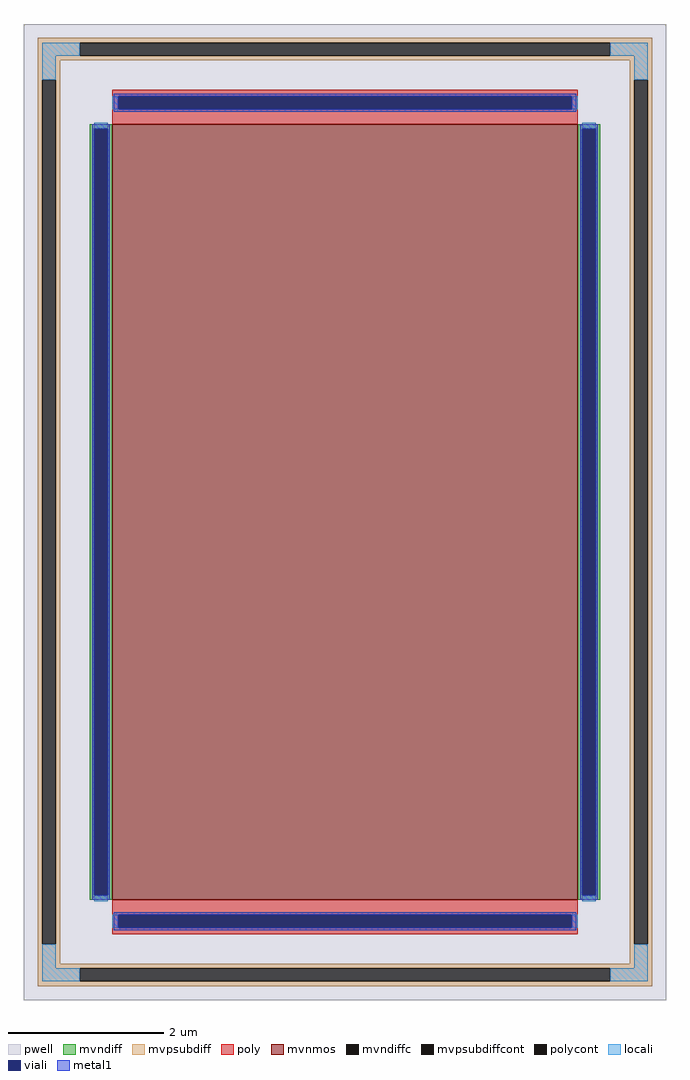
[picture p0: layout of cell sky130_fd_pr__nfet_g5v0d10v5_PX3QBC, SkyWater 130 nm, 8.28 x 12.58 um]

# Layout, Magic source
magic
tech sky130A
<< pwell >>
rect -414 -629 414 629
<< mvnmos >>
rect -300 -500 300 500
<< mvndiff >>
rect -329 494 -300 500
rect -329 -494 -323 494
rect -306 -494 -300 494
rect -329 -500 -300 -494
rect 300 494 329 500
rect 300 -494 306 494
rect 323 -494 329 494
rect 300 -500 329 -494
<< mvndiffc >>
rect -323 -494 -306 494
rect 306 -494 323 494
<< mvpsubdiff >>
rect -396 605 396 611
rect -396 588 -342 605
rect 342 588 396 605
rect -396 582 396 588
rect -396 557 -367 582
rect -396 -557 -390 557
rect -373 -557 -367 557
rect 367 557 396 582
rect -396 -582 -367 -557
rect 367 -557 373 557
rect 390 -557 396 557
rect 367 -582 396 -557
rect -396 -588 396 -582
rect -396 -605 -342 -588
rect 342 -605 396 -588
rect -396 -611 396 -605
<< mvpsubdiffcont >>
rect -342 588 342 605
rect -390 -557 -373 557
rect 373 -557 390 557
rect -342 -605 342 -588
<< poly >>
rect -300 536 300 544
rect -300 519 -292 536
rect 292 519 300 536
rect -300 500 300 519
rect -300 -519 300 -500
rect -300 -536 -292 -519
rect 292 -536 300 -519
rect -300 -544 300 -536
<< polycont >>
rect -292 519 292 536
rect -292 -536 292 -519
<< locali >>
rect -390 588 -342 605
rect 342 588 390 605
rect -390 557 -373 588
rect 373 557 390 588
rect -300 519 -292 536
rect 292 519 300 536
rect -323 494 -306 502
rect -323 -502 -306 -494
rect 306 494 323 502
rect 306 -502 323 -494
rect -300 -536 -292 -519
rect 292 -536 300 -519
rect -390 -588 -373 -557
rect 373 -588 390 -557
rect -390 -605 -342 -588
rect 342 -605 390 -588
<< viali >>
rect -292 519 292 536
rect -323 -494 -306 494
rect 306 -494 323 494
rect -292 -536 292 -519
<< metal1 >>
rect -298 536 298 539
rect -298 519 -292 536
rect 292 519 298 536
rect -298 516 298 519
rect -326 494 -303 500
rect -326 -494 -323 494
rect -306 -494 -303 494
rect -326 -500 -303 -494
rect 303 494 326 500
rect 303 -494 306 494
rect 323 -494 326 494
rect 303 -500 326 -494
rect -298 -519 298 -516
rect -298 -536 -292 -519
rect 292 -536 298 -519
rect -298 -539 298 -536
<< properties >>
string FIXED_BBOX -381 -596 381 596
string gencell sky130_fd_pr__nfet_g5v0d10v5
string library sky130
string parameters w 10.0 l 6.0 m 1 nf 1 diffcov 100 polycov 100 guard 1 glc 1 grc 1 gtc 1 gbc 1 tbcov 100 rlcov 100 topc 1 botc 1 poverlap 0 doverlap 1 lmin 0.50 wmin 0.42 compatible {sky130_fd_pr__nfet_01v8 sky130_fd_pr__nfet_01v8_lvt  sky130_fd_bs_flash__special_sonosfet_star  sky130_fd_pr__nfet_g5v0d10v5 sky130_fd_pr__nfet_05v0_nvt  sky130_fd_pr__nfet_03v3_nvt} full_metal 1 viasrc 100 viadrn 100 viagate 100 viagb 0 viagr 0 viagl 0 viagt 0
<< end >>
